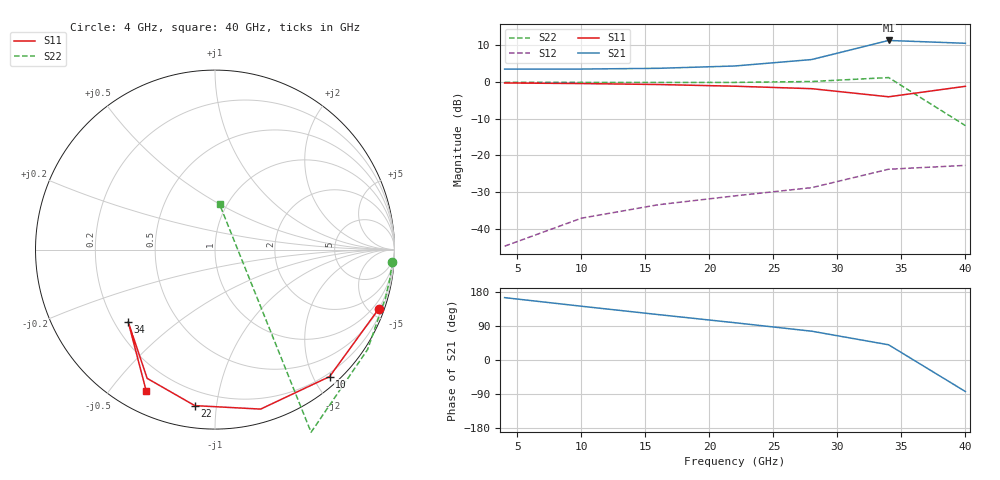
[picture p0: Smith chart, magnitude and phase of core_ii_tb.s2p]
# GHz S RI R 50
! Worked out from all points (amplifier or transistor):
!   7 points, 4 GHz to 40 GHz, reference 50 ohm
!   highest |S21| = 11.3 dB at 34 GHz (marker M1)
!   |S21| within 3 dB of that: 30.54 GHz to end of sweep
!   unconditionally stable (mu >= 1): nowhere
!   at 10 GHz: K = 0.24, MSG = 20.3 dB, |S12| = -37.1 dB
!   at 22 GHz: K = 0.49, MSG = 17.7 dB, |S12| = -31.0 dB
!   at 40 GHz: K = 0.67, MSG = 16.7 dB, |S12| = -22.7 dB
!   S11 on the Smith chart (normalised r, x): 4 GHz: 0.50, -5.67; 10 GHz: 0.15, -2.24; 22 GHz: 0.12, -0.87; 34 GHz: 0.26, -0.34; 40 GHz: 0.09, -0.62
4  0.9127 -0.3295  -1.444 0.3977  0.00121 0.00564  0.9879 -0.0679
10  0.6384 -0.7076  -1.182 0.9265  0.00702 0.012  0.974 -0.1643
16  0.2543 -0.8886  -0.765 1.333  0.0157 0.0142  0.9498 -0.2693
22  -0.1126 -0.8692  -0.2386 1.637  0.0257 0.0111  0.9083 -0.3882
28  -0.378 -0.7175  0.4909 1.965  0.0363 0.000576  0.8503 -0.5565
34  -0.4839 -0.4017  2.818 2.377  0.0486 -0.0427  0.5353 -1.018
40  -0.3837 -0.7856  0.3995 -3.35  -0.0714 0.0147  0.0252 0.2533
